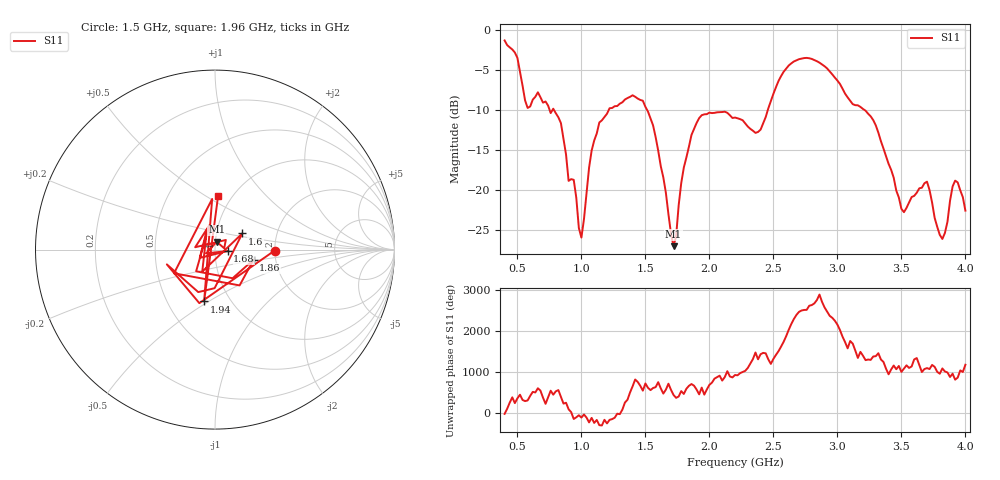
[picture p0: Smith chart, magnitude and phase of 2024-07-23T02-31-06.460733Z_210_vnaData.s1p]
!Created with skrf (http://scikit-rf.org).
# Hz S RI R 50.0
!freq ReS11 ImS11
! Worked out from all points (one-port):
!   181 points, 400 MHz to 4 GHz, reference 50 ohm
!   lowest |S11| = -27.0 dB at 1.72 GHz (marker M1), VSWR 1.09, Z = 50.8 + j4.45 ohm
!   |S11| at or under -10 dB: 787.2 MHz to 1.212 GHz (425.2 MHz wide, 42.5 % of centre); 1.515 GHz to 2.456 GHz (940.7 MHz wide, 47.4 % of centre); 3.216 GHz to end of sweep (the widest 3 of 4)
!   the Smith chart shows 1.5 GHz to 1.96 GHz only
!   S11 on the Smith chart (normalised r, x): 1.5 GHz: 2.00, -0.02; 1.6 GHz: 1.33, +0.25; 1.68 GHz: 1.15, -0.02; 1.86 GHz: 1.53, -0.18; 1.94 GHz: 0.76, -0.48; 1.96 GHz: 0.86, +0.56
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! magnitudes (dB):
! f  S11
! 400 MHz  -1.3
! 500 MHz  -3.4
! 580 MHz  -9.7
! 660 MHz  -7.7
! 860 MHz  -13.6
! 1 GHz  -25.9
! 1.08 GHz  -15.0
! 1.14 GHz  -11.5
! 1.3 GHz  -9.2
! 1.5 GHz  -9.6
! 1.6 GHz  -15.0
! 1.68 GHz  -23.0
! 1.72 GHz  -27.0
! 1.76 GHz  -21.9
! 1.86 GHz  -13.1
! 1.94 GHz  -10.6
! 1.96 GHz  -10.5
! 2.2 GHz  -10.9
! 2.4 GHz  -12.4
! 2.66 GHz  -3.9
! 3.1 GHz  -8.8
! 3.28 GHz  -11.2
! 3.5 GHz  -22.3
! 3.56 GHz  -21.5
! 3.7 GHz  -18.9
! 3.82 GHz  -26.1
! 3.92 GHz  -18.8
! 4 GHz  -22.5
